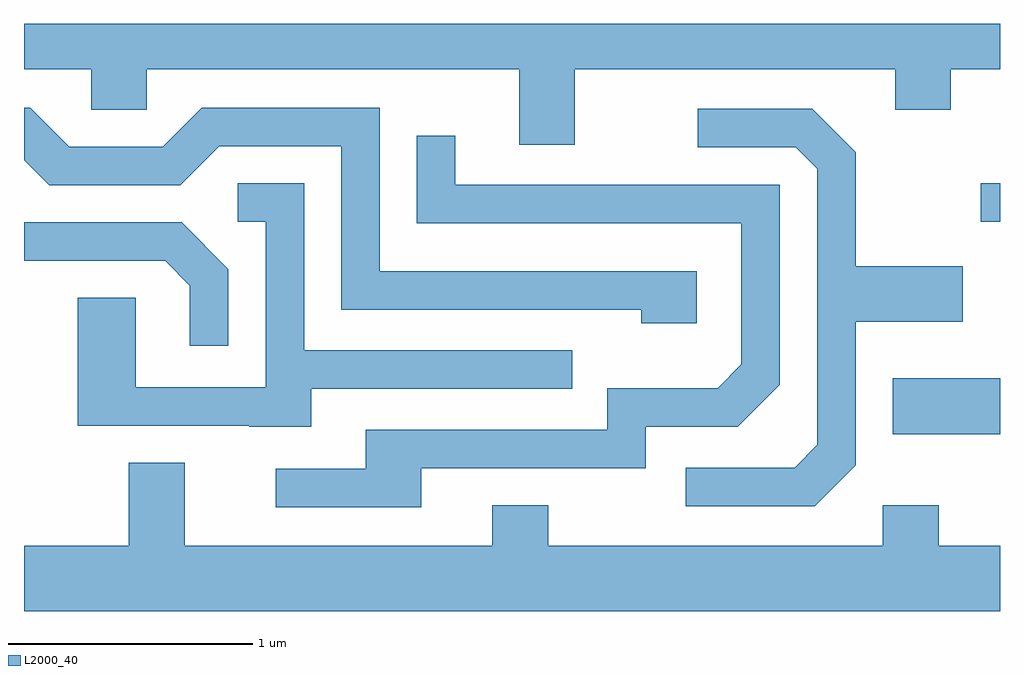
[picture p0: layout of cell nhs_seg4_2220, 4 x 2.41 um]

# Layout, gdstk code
import gdstk
lib = gdstk.Library(unit=1e-6, precision=1e-09)
def R(c, l, rs):  # rectangles x0, y0, x1, y1
    for r in rs: c.add(gdstk.rectangle(r[:2], r[2:], *l))
def P(c, l, *ps):  # polygons
    for p in ps: c.add(gdstk.Polygon(p, *l))
L2000_40 = (2000, 40)

nhs_seg4_2220 = lib.new_cell('nhs_seg4_2220')
R(nhs_seg4_2220, L2000_40, [(253.171,1344.301,253.611,1344.529), (253.533,1345.171,253.611,1345.329)])
P(nhs_seg4_2220, L2000_40, [(251.869,1345.796),(253.181,1345.796),(253.181,1345.631),(253.409,1345.631),(253.409,1345.796),(253.611,1345.796),(253.611,1345.982),(249.611,1345.982),(249.611,1345.796),(249.886,1345.796),(249.886,1345.631),(250.114,1345.631),(250.114,1345.796),(251.641,1345.796),(251.641,1345.486),(251.869,1345.486)],
  [(252.369,1344.969),(251.069,1344.969),(251.069,1345.639),(250.339,1345.639),(250.179,1345.479),(249.797,1345.479),(249.637,1345.639),(249.611,1345.639),(249.611,1345.424),(249.714,1345.321),(250.252,1345.321),(250.412,1345.481),(250.911,1345.481),(250.911,1344.811),(252.141,1344.811),(252.141,1344.756),(252.369,1344.756)],
  [(253.019,1344.174),(253.019,1344.761),(253.459,1344.761),(253.459,1344.989),(253.019,1344.989),(253.019,1345.457),(252.842,1345.634),(252.373,1345.634),(252.373,1345.476),(252.774,1345.476),(252.861,1345.389),(252.861,1344.257),(252.769,1344.164),(252.323,1344.164),(252.323,1344.006),(252.852,1344.006)],
  [(251.239,1344.161),(252.159,1344.161),(252.159,1344.331),(252.537,1344.331),(252.709,1344.504),(252.709,1345.324),(251.379,1345.324),(251.379,1345.523),(251.221,1345.523),(251.221,1345.166),(252.551,1345.166),(252.551,1344.587),(252.454,1344.489),(252.001,1344.489),(252.001,1344.319),(251.011,1344.319),(251.011,1344.159),(250.643,1344.159),(250.643,1344.001),(251.239,1344.001)],
  [(250.789,1344.486),(251.858,1344.486),(251.858,1344.644),(250.759,1344.644),(250.759,1345.329),(250.488,1345.329),(250.488,1345.171),(250.601,1345.171),(250.601,1344.494),(250.069,1344.494),(250.069,1344.859),(249.831,1344.859),(249.831,1344.336),(250.535,1344.336),(250.535,1344.331),(250.789,1344.331)],
  [(250.449,1344.977),(250.257,1345.169),(249.611,1345.169),(249.611,1345.011),(250.189,1345.011),(250.291,1344.909),(250.291,1344.663),(250.449,1344.663)],
  [(253.611,1343.844),(253.359,1343.844),(253.359,1344.009),(253.131,1344.009),(253.131,1343.844),(251.759,1343.844),(251.759,1344.009),(251.531,1344.009),(251.531,1343.844),(250.269,1343.844),(250.269,1344.184),(250.041,1344.184),(250.041,1343.844),(249.611,1343.844),(249.611,1343.576),(253.611,1343.576)])

lib.write_gds('nhs_seg4_2220.gds')
